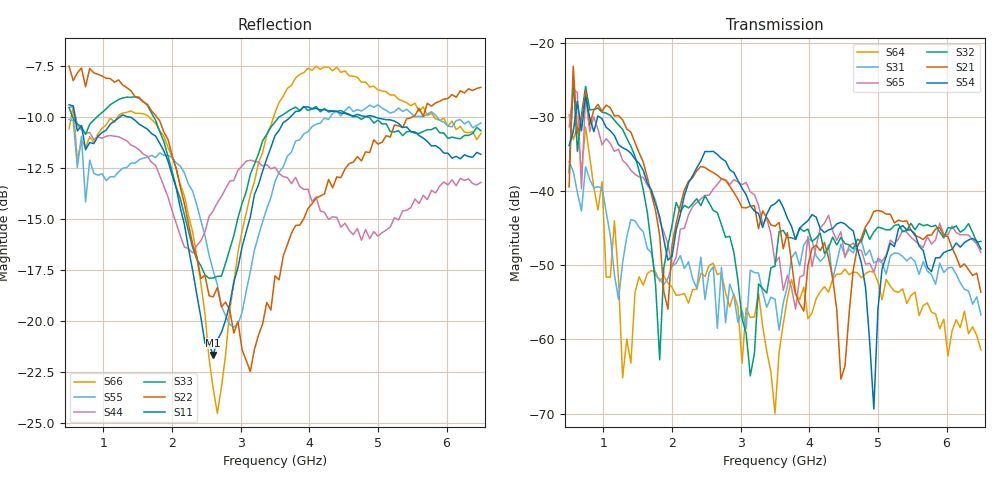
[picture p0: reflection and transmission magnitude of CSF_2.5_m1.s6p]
!Keysight Technologies,M9804A,MY58100912,A.14.10.03
!Date: Thursday, April 27, 2023 10:28:33
!Correction: S11(C  6-Port  )
!S12(C  6-Port  )
!S13(C  6-Port  )
!S14(C  6-Port  )
!S15(C  6-Port  )
!S16(C  6-Port  )
!S21(C  6-Port  )
!S22(C  6-Port  )
!S23(C  6-Port  )
!S24(C  6-Port  )
!S25(C  6-Port  )
!S26(C  6-Port  )
!S31(C  6-Port  )
!S32(C  6-Port  )
!S33(C  6-Port  )
!S34(C  6-Port  )
!S35(C  6-Port  )
!S36(C  6-Port  )
!S41(C  6-Port  )
!S42(C  6-Port  )
!S43(C  6-Port  )
!S44(C  6-Port  )
!S45(C  6-Port  )
!S46(C  6-Port  )
!S51(C  6-Port  )
!S52(C  6-Port  )
!S53(C  6-Port  )
!S54(C  6-Port  )
!S55(C  6-Port  )
!S56(C  6-Port  )
!S61(C  6-Port  )
!S62(C  6-Port  )
!S63(C  6-Port  )
!S64(C  6-Port  )
!S65(C  6-Port  )
!S66(C  6-Port  )
!S6P File: Measurement: :
# Hz S  RI  R 50
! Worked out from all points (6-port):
!   101 points, 500 MHz to 6.5 GHz, reference 50 ohm
!   strongest paths, dB at 500 MHz, 2 GHz, 3.5 GHz, 5 GHz, 6.5 GHz:
!     S54: -33.9, -48.8, -41.7, -55.9, -47.8
!     S21: -39.4, -47.3, -44.7, -42.6, -53.6
!     S32: -37.6, -44.6, -50.1, -44.9, -46.8
!     S65: -31.4, -50.2, -49.6, -49.0, -48.3
!     S31: -36.0, -50.1, -54.6, -49.3, -56.7
!     S64: -29.7, -53.0, -70.0, -52.2, -61.4
!   lowest |S11| = -21.7 dB at 2.6 GHz (marker M1), VSWR 1.18, Z = 42.6 + j2.03 ohm
!   |S11| at or under -10 dB: 587.4 MHz to 1.233 GHz (645.2 MHz wide, 70.9 % of centre); 1.402 GHz to 3.717 GHz (2.315 GHz wide, 90.5 % of centre); 4.97 GHz to end of sweep
